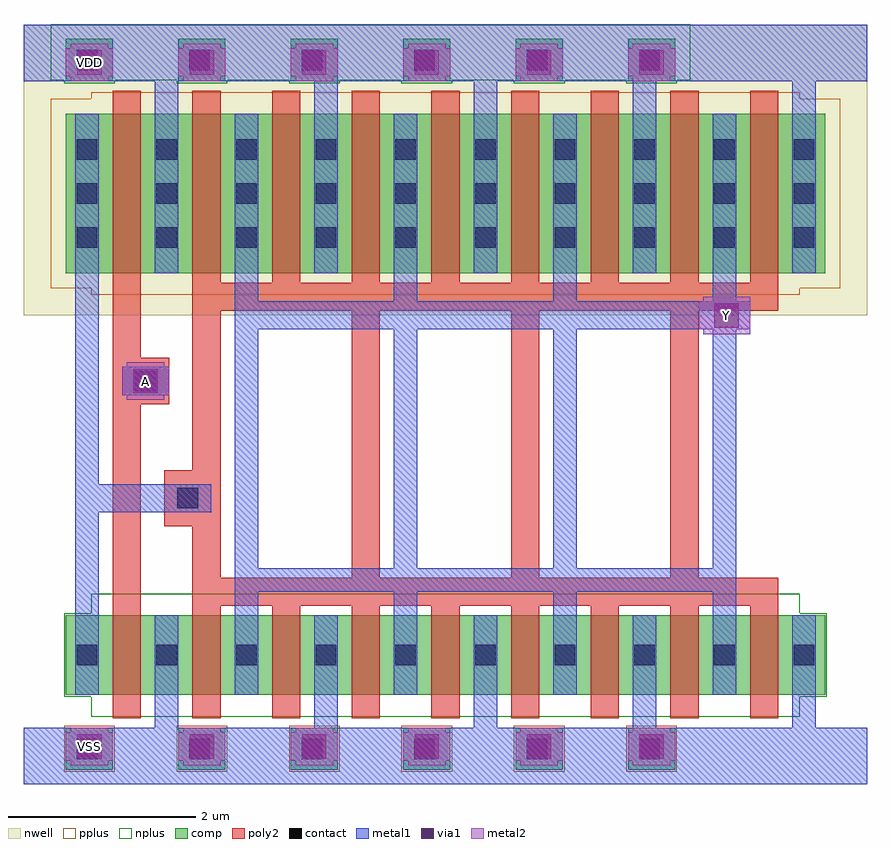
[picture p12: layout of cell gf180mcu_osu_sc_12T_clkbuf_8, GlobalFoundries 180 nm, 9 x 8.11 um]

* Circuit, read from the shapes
.subckt gf180mcu_osu_sc_12T_clkbuf_8 A VDD VSS Y
XM1 VSS A n1 VSS nfet_03v3 w=0.85u l=0.3u
XM2 Y n1 VSS VSS nfet_03v3 w=0.85u l=0.3u m=8
XM3 VDD A n1 VDD pfet_03v3 w=1.7u l=0.3u
XM4 Y n1 VDD VDD pfet_03v3 w=1.7u l=0.3u m=8
.ends

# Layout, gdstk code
import gdstk
lib = gdstk.Library(unit=1e-6, precision=1e-09)
def R(c, l, rs):  # rectangles x0, y0, x1, y1
    for r in rs: c.add(gdstk.rectangle(r[:2], r[2:], *l))
def A(c, l, x, y, w, h, nx, ny, dx, dy):  # array of equal rectangles
    R(c, l, [(x+i*dx, y+j*dy, x+i*dx+w, y+j*dy+h) for i in range(nx) for j in range(ny)])
nwell = (21, 0)
comp = (22, 0)
poly2 = (30, 0)
pplus = (31, 0)
nplus = (32, 0)
contact = (33, 0)
metal1 = (34, 0)
via1 = (35, 0)
metal2 = (36, 0)

gf180mcu_osu_sc_12t_clkb = lib.new_cell('gf180mcu_osu_sc_12T_clkbuf_8')
R(gf180mcu_osu_sc_12t_clkb, nwell, [(0,5,9,8.1)])
A(gf180mcu_osu_sc_12t_clkb, comp, 0.45, 0.15, 0.5, 0.45, 6, 2, 1.2, 7.35)
R(gf180mcu_osu_sc_12t_clkb, comp, [(0.45,0.95,8.55,1.8), (0.45,5.45,8.55,7.15)])
A(gf180mcu_osu_sc_12t_clkb, poly2, 1.8, 0.7, 0.3, 1.2, 8, 1, 0.85, 0)
A(gf180mcu_osu_sc_12t_clkb, poly2, 3.5, 2.2, 0.3, 2.85, 3, 1, 1.7, 0)
A(gf180mcu_osu_sc_12t_clkb, poly2, 1.8, 5.35, 0.3, 2.05, 8, 1, 0.85, 0)
R(gf180mcu_osu_sc_12t_clkb, poly2, [(0.95,0.7,1.25,4.05), (1.8,1.9,8.05,2.2), (1.8,2.2,2.1,2.75), (1.5,2.75,2.1,3.35), (1.8,3.35,2.1,5.05), (0.95,4.05,1.55,4.55), (0.95,4.55,1.25,7.4), (1.8,5.05,8.05,5.35)])
A(gf180mcu_osu_sc_12t_clkb, pplus, 0.43, 0.13, 0.54, 0.49, 6, 1, 1.2, 0)
R(gf180mcu_osu_sc_12t_clkb, pplus, [(0.72,5.22,8.28,5.29), (0.29,5.29,8.71,7.31), (0.72,7.31,8.28,7.38)])
A(gf180mcu_osu_sc_12t_clkb, nplus, 0.43, 7.48, 0.54, 0.03, 6, 1, 1.2, 0)
R(gf180mcu_osu_sc_12t_clkb, nplus, [(0.72,0.72,8.28,0.93), (0.43,0.93,8.57,1.82), (0.72,1.82,8.28,2.03), (0.29,7.51,7.11,8.11)])
A(gf180mcu_osu_sc_12t_clkb, contact, 0.565, 0.265, 0.22, 0.22, 6, 2, 1.2, 7.35)
A(gf180mcu_osu_sc_12t_clkb, contact, 0.565, 1.265, 0.22, 0.22, 10, 2, 0.85, 4.455)
A(gf180mcu_osu_sc_12t_clkb, contact, 0.565, 6.19, 0.22, 0.22, 10, 2, 0.85, 0.47)
R(gf180mcu_osu_sc_12t_clkb, contact, [(1.64,2.94,1.86,3.16), (1.19,4.19,1.41,4.41)])
A(gf180mcu_osu_sc_12t_clkb, metal1, 1.4, 0.6, 0.25, 1.2, 5, 1, 1.7, 0)
A(gf180mcu_osu_sc_12t_clkb, metal1, 2.25, 0.95, 0.25, 1.1, 4, 1, 1.7, 0)
A(gf180mcu_osu_sc_12t_clkb, metal1, 2.25, 2.3, 0.25, 2.55, 4, 1, 1.7, 0)
A(gf180mcu_osu_sc_12t_clkb, metal1, 2.25, 5.15, 0.25, 2, 4, 1, 1.7, 0)
A(gf180mcu_osu_sc_12t_clkb, metal1, 1.4, 5.45, 0.25, 2.05, 5, 1, 1.7, 0)
R(gf180mcu_osu_sc_12t_clkb, metal1, [(0,0,9,0.6), (0.55,0.95,0.8,2.9), (2.25,2.05,7.6,2.3), (0.55,2.9,2,3.2), (0.55,3.2,0.8,7.15), (1.05,4.15,1.55,4.45), (2.25,4.85,7.75,5.15), (0,7.5,9,8.1)])
A(gf180mcu_osu_sc_12t_clkb, via1, 0.57, 0.27, 0.26, 0.26, 6, 2, 1.2, 7.3)
R(gf180mcu_osu_sc_12t_clkb, via1, [(1.17,4.17,1.43,4.43), (7.37,4.87,7.63,5.13)])
A(gf180mcu_osu_sc_12t_clkb, metal2, 0.5, 0.2, 0.4, 0.05, 6, 2, 1.2, 0.35)
A(gf180mcu_osu_sc_12t_clkb, metal2, 0.45, 0.25, 0.5, 0.3, 6, 2, 1.2, 7.3)
A(gf180mcu_osu_sc_12t_clkb, metal2, 0.5, 7.5, 0.4, 0.05, 6, 2, 1.2, 0.35)
R(gf180mcu_osu_sc_12t_clkb, metal2, [(1.1,4.1,1.5,4.15), (1.05,4.15,1.55,4.45), (1.1,4.45,1.5,4.5), (7.25,4.8,7.75,4.85), (7.2,4.85,7.75,5.15), (7.25,5.15,7.75,5.2)])
gf180mcu_osu_sc_12t_clkb.add(gdstk.Label('VSS', (0.7,0.4), layer=36, texttype=0))
gf180mcu_osu_sc_12t_clkb.add(gdstk.Label('VDD', (0.7,7.7), layer=36, texttype=0))
gf180mcu_osu_sc_12t_clkb.add(gdstk.Label('A', (1.3,4.3), layer=36, texttype=10))
gf180mcu_osu_sc_12t_clkb.add(gdstk.Label('Y', (7.5,5), layer=36, texttype=10))

lib.write_gds('gf180mcu_osu_sc_12T_clkbuf_8.gds')
